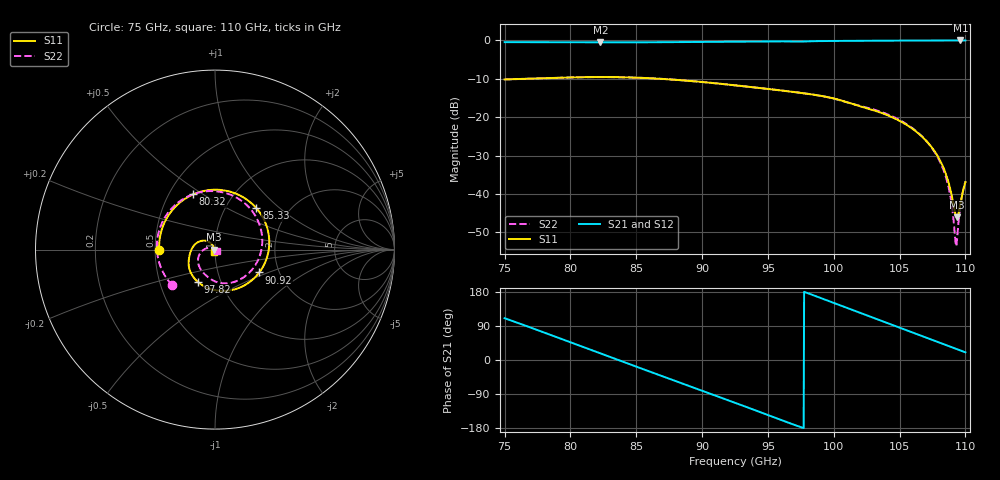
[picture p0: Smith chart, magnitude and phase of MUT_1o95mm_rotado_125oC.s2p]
! TOUCHSTONE file generated by CST MICROWAVE STUDIO
! Date and time: Wed Feb 14 17:05:44 2024
! Project name: material_rotado.cst
! Parameters = {angY=1.25}
! Header version: 2018
! Port assignment regex: !\s*Touchstone port\s*([0-9]+)\s*=\s*(CST MWS port|CST DS port)\s*([0-9]+|Zmin|Zmax)\s*\(\"(.*)\"\)(\s*mode\s*([0-9]+))?.*
! Touchstone port assignment:
! Touchstone port 1 = CST MWS port 1 ("")
! Touchstone port 2 = CST MWS port 2 ("")
# GHz S MA R 376.7
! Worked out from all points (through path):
!   1001 points, 75 GHz to 110 GHz, reference 376.7 ohm
!   highest |S21| = 0.00 dB at 109.6 GHz (marker M1); lowest = -0.5 dB at 82.28 GHz (marker M2)
!   group delay of S21, straight-line fit = 35.7 ps
!   lowest |S11| = -46.1 dB at 109.3 GHz (marker M3), VSWR 1.01, Z = 373 - j0.14 ohm
!   |S11| at or under -10 dB: start of sweep to 76.54 GHz; 86.88 GHz to end of sweep
!   |S22| runs from -53.6 to -9.5 dB; largest |S21 - S12| = 0.0005
!   S11 on the Smith chart (normalised r, x): 75 GHz: 0.53, -0.01; 80.32 GHz: 0.66, +0.45; 85.33 GHz: 1.39, +0.71; 90.92 GHz: 1.58, -0.44; 97.82 GHz: 0.78, -0.29; 110 GHz: 0.99, -0.03
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75  0.3106 -179.2  0.9505 110.3  0.9505 110.3  0.3106 -140.3
77.625  0.3207 147.5  0.9472 77.3  0.9472 77.3  0.3213 -172.9
80.32  0.3308 111.5  0.9437 42.5  0.9437 42.5  0.3308 153.5
80.845  0.3321 104.5  0.9433 35.7  0.9433 35.7  0.3319 147.0
82.28  0.3338 85.2  0.9427 17.2  0.9427 17.2  0.3334 129.2
85.325  0.3261 44.9  0.9453 -21.7  0.9453 -21.7  0.3261 91.7
86.69  0.3176 27.2  0.948 -39.0  0.948 -39.0  0.3179 74.8
88.895  0.2987 -1.1  0.954 -66.9  0.954 -66.9  0.2991 47.3
90.925  0.2777 -27.2  0.9604 -92.7  0.9604 -92.7  0.2779 21.9
92.5  0.2605 -47.6  0.9655 -112.8  0.9655 -112.8  0.2604 2.0
95.37  0.2297 -85.4  0.9727 -149.9  0.9726 -149.9  0.2298 -34.4
97.82  0.2038 -117.8  0.9701 179.1  0.9703 179.1  0.2043 -65.2
98.345  0.1979 -124.6  0.9772 172.3  0.9773 172.3  0.1983 -71.6
100.935  0.1582 -157.6  0.9877 138.4  0.9877 138.4  0.1575 -104.7
104.19  0.1042 156.8  0.9943 96.0  0.9943 96.0  0.1072 -151.4
106.325  0.0637 132.4  0.9979 68.1  0.9979 68.1  0.0645 -178.8
107.83  0.03245 120.0  0.9996 48.5  0.9996 48.5  0.03154 161.9
108.635  0.01582 121.1  1 38.0  1 38.0  0.01413 148.6
109.195  0.005933 154.0  1 30.7  1 30.7  0.00296 106.5
109.335  0.00498 -177.8  1 28.8  1 28.8  0.00224 38.5
109.615  0.007418 -129.0  1 25.2  1 25.2  0.006898 -15.3
110  0.01432 -110.9  0.9999 20.2  0.9999 20.2  0.01448 -28.4
